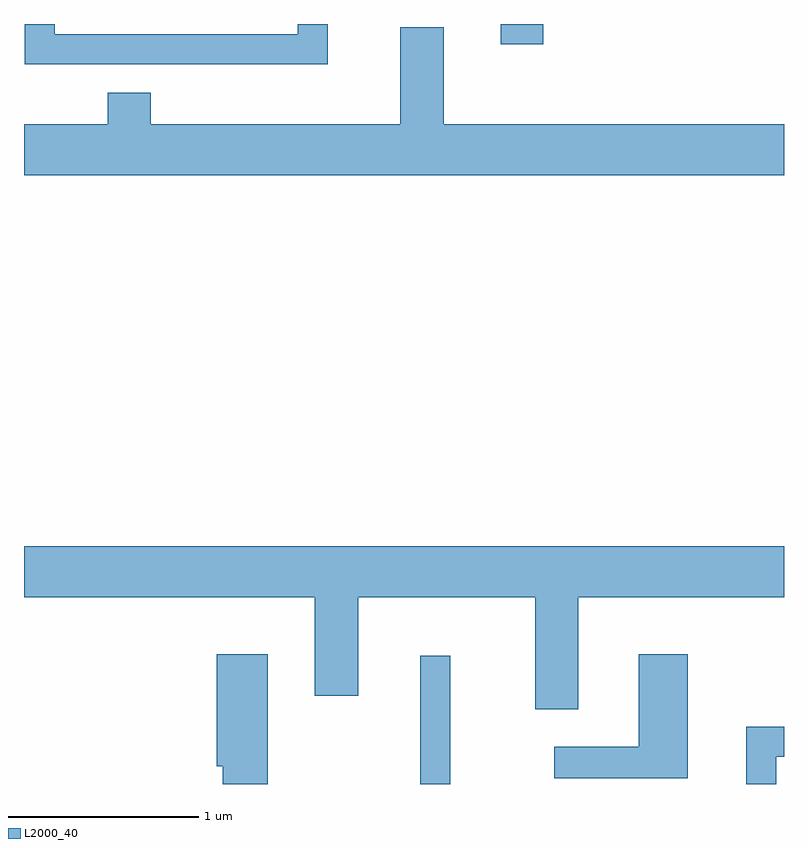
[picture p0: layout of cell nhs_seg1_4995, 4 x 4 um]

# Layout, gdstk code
import gdstk
lib = gdstk.Library(unit=1e-6, precision=1e-09)
def R(c, l, rs):  # rectangles x0, y0, x1, y1
    for r in rs: c.add(gdstk.rectangle(r[:2], r[2:], *l))
def P(c, l, *ps):  # polygons
    for p in ps: c.add(gdstk.Polygon(p, *l))
L2000_40 = (2000, 40)

nhs_seg1_4995 = lib.new_cell('nhs_seg1_4995')
R(nhs_seg1_4995, L2000_40, [(337.696,889.712,337.854,890.388), (338.121,893.606,338.344,893.712)])
P(nhs_seg1_4995, L2000_40, [(337.209,893.712),(337.051,893.712),(337.051,893.659),(335.774,893.659),(335.774,893.712),(335.616,893.712),(335.616,893.501),(337.209,893.501)],
  [(339.611,893.184),(337.819,893.184),(337.819,893.694),(337.591,893.694),(337.591,893.184),(336.279,893.184),(336.279,893.349),(336.051,893.349),(336.051,893.184),(335.611,893.184),(335.611,892.916),(339.611,892.916)],
  [(338.529,890.696),(339.611,890.696),(339.611,890.964),(335.611,890.964),(335.611,890.696),(337.141,890.696),(337.141,890.176),(337.369,890.176),(337.369,890.696),(338.301,890.696),(338.301,890.106),(338.529,890.106)],
  [(339.104,890.394),(338.846,890.394),(338.846,889.909),(338.403,889.909),(338.403,889.741),(339.104,889.741)],
  [(336.894,890.394),(336.626,890.394),(336.626,889.806),(336.656,889.806),(336.656,889.712),(336.894,889.712)],
  [(339.569,889.856),(339.611,889.856),(339.611,890.014),(339.411,890.014),(339.411,889.712),(339.569,889.712)])

lib.write_gds('nhs_seg1_4995.gds')
